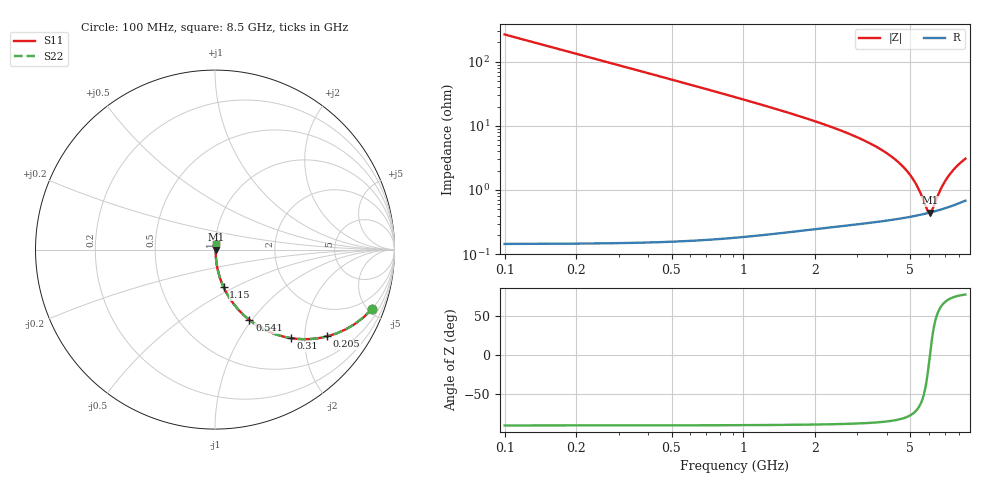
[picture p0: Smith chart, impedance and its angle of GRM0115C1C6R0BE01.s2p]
!Murata Part Number: GRM0115C1C6R0BE01
!These Parameters are Measured in Series Mode Connection
!Data Generated on Mar 30, 2021
!  o--ll--o
!Port1  Port2
!  o------o
!Operation Temp=25[degC], DC Bias Voltage=0[V]
!Freq. Start=100[MHz] Stop=9[GHz] 401[Steps]
# Hz S RI R 50
!Freq.(Hz) S11(Real) S11(Imag) S21(Real) S21(Imag) S12(Real) S12(Imag) S22(Real) S22(Imag)
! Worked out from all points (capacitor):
!   401 points, 100 MHz to 8.5 GHz, reference 50 ohm
!   read as one part in series: C = 6 pF near 142 MHz
!   lowest |Z| = 445 mohm at 6.022 GHz (marker M1)
!   series resonance near 6.04 GHz, so ESL is about 120 pH
!   S11 on the Smith chart (normalised r, x): 100 MHz: 1.00, -5.30; 205 MHz: 1.00, -2.58; 310 MHz: 1.00, -1.71; 541 MHz: 1.00, -0.97; 1.15 GHz: 1.00, -0.44; 8.5 GHz: 1.01, +0.06
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1e8  0.8754 -0.33  0.1246 0.33  0.1246 0.33  0.8754 -0.33
1.42e8  0.7769 -0.416  0.2231 0.416  0.2231 0.416  0.7769 -0.416
2.05e8  0.6253 -0.4835  0.3747 0.4835  0.3747 0.4835  0.6253 -0.4835
3.1e8  0.4214 -0.4929  0.5786 0.4929  0.5786 0.4929  0.4214 -0.4929
4.15e8  0.2884 -0.4518  0.7116 0.4518  0.7116 0.4518  0.2884 -0.4518
5.41e8  0.1919 -0.3921  0.8081 0.3921  0.8081 0.3921  0.1919 -0.3921
7.93e8  0.0985 -0.2954  0.9015 0.2954  0.9015 0.2954  0.0985 -0.2954
1.15e9  0.0485 -0.2105  0.9515 0.2105  0.9515 0.2105  0.0485 -0.2105
1.507e9  0.0283 -0.1594  0.9717 0.1594  0.9717 0.1594  0.0283 -0.1594
2.914e9  0.00763 -0.0687  0.9924 0.0687  0.9924 0.0687  0.00763 -0.0687
4.3e9  0.00437 -0.03  0.9956 0.03  0.9956 0.03  0.00437 -0.03
4.741e9  0.00413 -0.0212  0.9959 0.0212  0.9959 0.0212  0.00413 -0.0212
5.119e9  0.00408 -0.0144  0.9959 0.0144  0.9959 0.0144  0.00408 -0.0144
5.413e9  0.00413 -0.00949  0.9959 0.00949  0.9959 0.00949  0.00413 -0.00949
5.707e9  0.00424 -0.0049  0.9958 0.0049  0.9958 0.0049  0.00424 -0.0049
5.896e9  0.00435 -0.00208  0.9957 0.00208  0.9957 0.00208  0.00435 -0.00208
6.022e9  0.00443 -0.000251  0.9956 0.000251  0.9956 0.000251  0.00443 -0.000251
6.169e9  0.00453 0.00183  0.9955 -0.00183  0.9955 -0.00183  0.00453 0.00183
6.715e9  0.00503 0.00915  0.995 -0.00915  0.995 -0.00915  0.00503 0.00915
7.114e9  0.00549 0.0141  0.9945 -0.0141  0.9945 -0.0141  0.00549 0.0141
7.723e9  0.00634 0.0213  0.9937 -0.0213  0.9937 -0.0213  0.00634 0.0213
8.5e9  0.00767 0.0296  0.9923 -0.0296  0.9923 -0.0296  0.00767 0.0296
